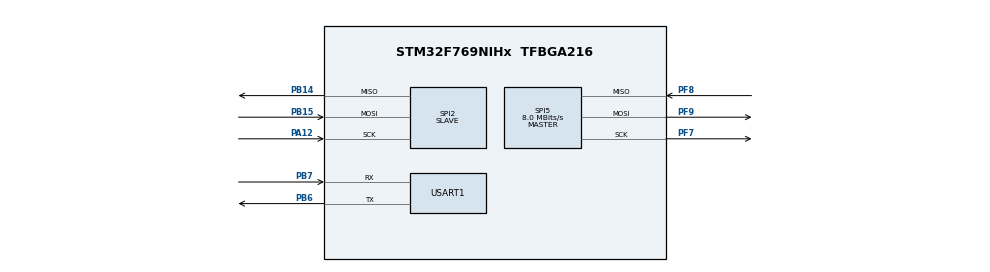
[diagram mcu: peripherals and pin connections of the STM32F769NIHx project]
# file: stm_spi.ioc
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Mcu.Family=STM32F7
Mcu.Name=STM32F769NIHx
Mcu.Package=TFBGA216
NVIC.PriorityGroup=NVIC_PRIORITYGROUP_4
NVIC.SPI2_IRQn=true\:0\:0\:false\:false\:true\:true\:true\:true
NVIC.SPI5_IRQn=true\:0\:0\:false\:false\:true\:true\:true\:true
NVIC.USART1_IRQn=true\:0\:0\:false\:false\:true\:true\:true\:true
PA12.Mode=Full_Duplex_Slave
PA12.Signal=SPI2_SCK
PB14.Mode=Full_Duplex_Slave
PB14.Signal=SPI2_MISO
PB15.Mode=Full_Duplex_Slave
PB15.Signal=SPI2_MOSI
PB6.Mode=Asynchronous
PB6.Signal=USART1_TX
PB7.Mode=Asynchronous
PB7.Signal=USART1_RX
PF7.Mode=Full_Duplex_Master
PF7.Signal=SPI5_SCK
PF8.Mode=Full_Duplex_Master
PF8.Signal=SPI5_MISO
PF9.Mode=Full_Duplex_Master
PF9.Signal=SPI5_MOSI
ProjectManager.HeapSize=0x200
ProjectManager.StackSize=0x400
ProjectManager.TargetToolchain=STM32CubeIDE
RCC.HSE_VALUE=25000000
RCC.HSI_VALUE=16000000
RCC.LSE_VALUE=32768
RCC.USBFreq_Value=96000000
RCC.VCOOutputFreq_Value=192000000
SPI2.DataSize=SPI_DATASIZE_16BIT
SPI2.Direction=SPI_DIRECTION_2LINES
SPI2.Mode=SPI_MODE_SLAVE
SPI2.VirtualType=VM_SLAVE
SPI5.CalculateBaudRate=8.0 MBits/s
SPI5.DataSize=SPI_DATASIZE_16BIT
SPI5.Direction=SPI_DIRECTION_2LINES
SPI5.Mode=SPI_MODE_MASTER
SPI5.VirtualType=VM_MASTER
USART1.VirtualMode-Asynchronous=VM_ASYNC
board=custom

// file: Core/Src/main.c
/* USER CODE BEGIN Header */
/**
  ******************************************************************************
  * @file           : main.c
  * @brief          : Main program body
  ******************************************************************************
  * @attention
  *
  * Copyright (c) 2023 STMicroelectronics.
  * All rights reserved.
  *
  * This software is licensed under terms that can be found in the LICENSE file
  * in the root directory of this software component.
  * If no LICENSE file comes with this software, it is provided AS-IS.
  *
  ******************************************************************************
  */
/* USER CODE END Header */
#include "main.h"

/* USER CODE BEGIN Includes */
#include <stdio.h>
#include "my_spi_driver.h"
#include "my_spi_useful.h"
/* USER CODE END Includes */

SPI_HandleTypeDef hspi2;
SPI_HandleTypeDef hspi5;

UART_HandleTypeDef huart1;

/* USER CODE BEGIN PV */
uint8_t master_transmit = 0;
uint8_t slave_transmit = 0;
/* USER CODE END PV */

void SystemClock_Config(void);
static void MX_GPIO_Init(void);
static void MX_SPI2_Init(void);
static void MX_SPI5_Init(void);
static void MX_USART1_UART_Init(void);

/* USER CODE BEGIN 0 */
int _write(int file, char *ptr, int len)
{
	HAL_UART_Transmit(&huart1, (uint8_t*)ptr, len, 100);
	return len;
}

void HAL_SPI_TxCpltCallback(SPI_HandleTypeDef *hspi)
{
	if (hspi->Instance == hspi5.Instance) {
		master_transmit = 1;
		slave_transmit = 0;
		printf("Master T callback\r\n");
	} else {
		slave_transmit = 1;
		master_transmit = 0;
		printf("Slave T callback\r\n");
	}
}

void HAL_SPI_RxCpltCallback(SPI_HandleTypeDef *hspi)
{
	if (hspi->Instance == hspi5.Instance) {
		//slave_transmit = 0;
		printf("Master R callback\r\n");
	} else {
		//master_transmit = 0;
		printf("Slave R callback\r\n");
	}
}

void HAL_SPI_ErrorCallback(SPI_HandleTypeDef *hspi)
{
	if (hspi->Instance == hspi5.Instance) {
			printf("Master er callback\r\n");
	} else {
			printf("Slave er callback\r\n");
	}
}
/* USER CODE END 0 */

int main(void)
{

  /* MCU Configuration--------------------------------------------------------*/

  /* Reset of all peripherals, Initializes the Flash interface and the Systick. */
  HAL_Init();

  /* Configure the system clock */
  SystemClock_Config();

  /* Initialize all configured peripherals */
  MX_GPIO_Init();
  MX_SPI2_Init();
  MX_SPI5_Init();
  MX_USART1_UART_Init();
  /* USER CODE BEGIN 2 */
  uint16_t data = 0;
  uint8_t address = HYSTERESIS;
  uint8_t state = 0;
  /* USER CODE END 2 */

  /* Infinite loop */
  /* USER CODE BEGIN WHILE */
  while (1)
  {
	  slave_listen_for_reg_address(&hspi2);
	  my_spi_transmit_reg_adr(&hspi5, &address);
	  slave_set_reg_address(&hspi2);
	  //
	  my_spi_listen_for_req_data(&hspi5, &data);
	  slave_transimt_reg_data(&hspi2);
	  while(hspi5.State != HAL_SPI_STATE_READY) {};
	  //
	  data = (uint16_t) (~0u) & HYSTERESIS_MASK;
	  slave_listen_for_reg_data(&hspi2);
	  my_spi_transmit_reg_data(&hspi5, &data);
	  slave_set_reg_data(&hspi2);
	  //
	  my_spi_listen_for_req_data(&hspi5, &data);
	  slave_transimt_reg_data(&hspi2);
	  while(hspi5.State != HAL_SPI_STATE_READY) {};
	  printf("");
    /* USER CODE END WHILE */

  }
}

void SystemClock_Config(void)
{
  RCC_OscInitTypeDef RCC_OscInitStruct = {0};
  RCC_ClkInitTypeDef RCC_ClkInitStruct = {0};

  /** Configure the main internal regulator output voltage
  */
  __HAL_RCC_PWR_CLK_ENABLE();
  __HAL_PWR_VOLTAGESCALING_CONFIG(PWR_REGULATOR_VOLTAGE_SCALE3);

  /** Initializes the RCC Oscillators according to the specified parameters
  * in the RCC_OscInitTypeDef structure.
  */
  RCC_OscInitStruct.OscillatorType = RCC_OSCILLATORTYPE_HSI;
  RCC_OscInitStruct.HSIState = RCC_HSI_ON;
  RCC_OscInitStruct.HSICalibrationValue = RCC_HSICALIBRATION_DEFAULT;
  RCC_OscInitStruct.PLL.PLLState = RCC_PLL_NONE;
  if (HAL_RCC_OscConfig(&RCC_OscInitStruct) != HAL_OK)
  {
    Error_Handler();
  }

  /** Initializes the CPU, AHB and APB buses clocks
  */
  RCC_ClkInitStruct.ClockType = RCC_CLOCKTYPE_HCLK|RCC_CLOCKTYPE_SYSCLK
                              |RCC_CLOCKTYPE_PCLK1|RCC_CLOCKTYPE_PCLK2;
  RCC_ClkInitStruct.SYSCLKSource = RCC_SYSCLKSOURCE_HSI;
  RCC_ClkInitStruct.AHBCLKDivider = RCC_SYSCLK_DIV1;
  RCC_ClkInitStruct.APB1CLKDivider = RCC_HCLK_DIV1;
  RCC_ClkInitStruct.APB2CLKDivider = RCC_HCLK_DIV1;

  if (HAL_RCC_ClockConfig(&RCC_ClkInitStruct, FLASH_LATENCY_0) != HAL_OK)
  {
    Error_Handler();
  }
}

static void MX_SPI2_Init(void)
{

  /* SPI2 parameter configuration*/
  hspi2.Instance = SPI2;
  hspi2.Init.Mode = SPI_MODE_SLAVE;
  hspi2.Init.Direction = SPI_DIRECTION_2LINES;
  hspi2.Init.DataSize = SPI_DATASIZE_16BIT;
  hspi2.Init.CLKPolarity = SPI_POLARITY_LOW;
  hspi2.Init.CLKPhase = SPI_PHASE_1EDGE;
  hspi2.Init.NSS = SPI_NSS_SOFT;
  hspi2.Init.FirstBit = SPI_FIRSTBIT_MSB;
  hspi2.Init.TIMode = SPI_TIMODE_DISABLE;
  hspi2.Init.CRCCalculation = SPI_CRCCALCULATION_DISABLE;
  hspi2.Init.CRCPolynomial = 7;
  hspi2.Init.CRCLength = SPI_CRC_LENGTH_DATASIZE;
  hspi2.Init.NSSPMode = SPI_NSS_PULSE_DISABLE;
  if (HAL_SPI_Init(&hspi2) != HAL_OK)
  {
    Error_Handler();
  }

}

static void MX_SPI5_Init(void)
{

  /* SPI5 parameter configuration*/
  hspi5.Instance = SPI5;
  hspi5.Init.Mode = SPI_MODE_MASTER;
  hspi5.Init.Direction = SPI_DIRECTION_2LINES;
  hspi5.Init.DataSize = SPI_DATASIZE_16BIT;
  hspi5.Init.CLKPolarity = SPI_POLARITY_LOW;
  hspi5.Init.CLKPhase = SPI_PHASE_1EDGE;
  hspi5.Init.NSS = SPI_NSS_SOFT;
  hspi5.Init.BaudRatePrescaler = SPI_BAUDRATEPRESCALER_2;
  hspi5.Init.FirstBit = SPI_FIRSTBIT_MSB;
  hspi5.Init.TIMode = SPI_TIMODE_DISABLE;
  hspi5.Init.CRCCalculation = SPI_CRCCALCULATION_DISABLE;
  hspi5.Init.CRCPolynomial = 7;
  hspi5.Init.CRCLength = SPI_CRC_LENGTH_DATASIZE;
  hspi5.Init.NSSPMode = SPI_NSS_PULSE_ENABLE;
  if (HAL_SPI_Init(&hspi5) != HAL_OK)
  {
    Error_Handler();
  }

}

static void MX_USART1_UART_Init(void)
{

  huart1.Instance = USART1;
  huart1.Init.BaudRate = 115200;
  huart1.Init.WordLength = UART_WORDLENGTH_8B;
  huart1.Init.StopBits = UART_STOPBITS_1;
  huart1.Init.Parity = UART_PARITY_NONE;
  huart1.Init.Mode = UART_MODE_TX_RX;
  huart1.Init.HwFlowCtl = UART_HWCONTROL_NONE;
  huart1.Init.OverSampling = UART_OVERSAMPLING_16;
  huart1.Init.OneBitSampling = UART_ONE_BIT_SAMPLE_DISABLE;
  huart1.AdvancedInit.AdvFeatureInit = UART_ADVFEATURE_NO_INIT;
  if (HAL_UART_Init(&huart1) != HAL_OK)
  {
    Error_Handler();
  }

}

static void MX_GPIO_Init(void)
{

  /* GPIO Ports Clock Enable */
  __HAL_RCC_GPIOB_CLK_ENABLE();
  __HAL_RCC_GPIOA_CLK_ENABLE();
  __HAL_RCC_GPIOF_CLK_ENABLE();

}

void Error_Handler(void)
{
  __disable_irq();
  while (1)
  {
  }
}
